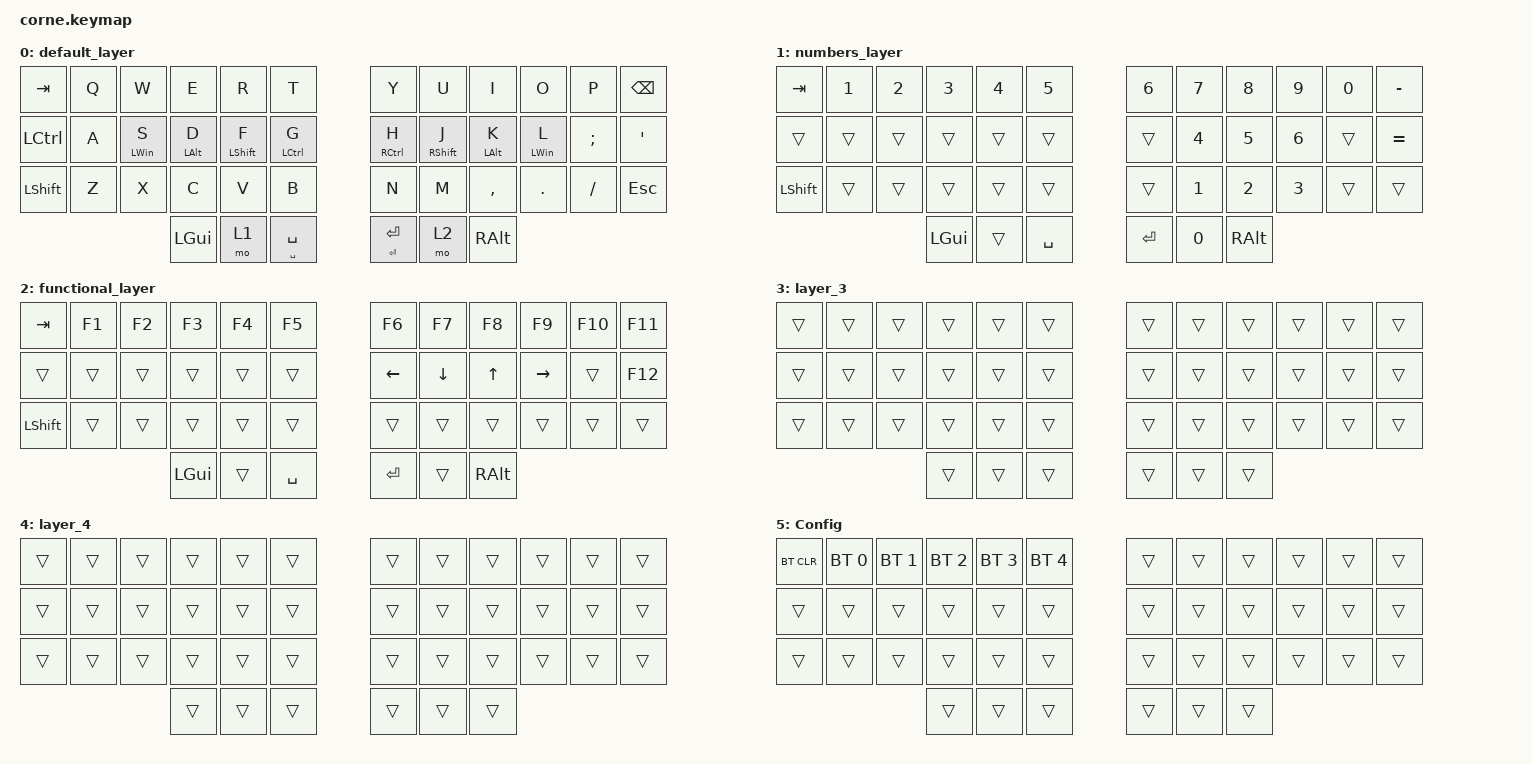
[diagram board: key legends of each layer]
/*
 * Copyright (c) 2020 The ZMK Contributors
 *
 * SPDX-License-Identifier: MIT
 */

#include <behaviors.dtsi>
#include <dt-bindings/zmk/bt.h>
#include <dt-bindings/zmk/keys.h>

/ {
    combos {
        compatible = "zmk,combos";

        combo_esc {
            timeout-ms = <50>;
            key-positions = <0 1>;
            bindings = <&kp ESC>;
        };
    };

    behaviors {
        ss_hs_modmorph: ss_hs_modmorph {
            compatible = "zmk,behavior-mod-morph";
            label = "SS_HS_MODMORPH";
            bindings = <&kp M>, <&kp RIGHT_BRACKET>;

            #binding-cells = <0>;
            mods = <(MOD_LSFT|MOD_RSFT)>;
        };

        kh_hs_tapdance: kh_hs_tapdance {
            compatible = "zmk,behavior-tap-dance";
            label = "KH_HS_TAPDANCE";
            #binding-cells = <0>;
            tapping-term-ms = <200>;
            bindings = <&kp LEFT_BRACKET>, <&kp RIGHT_BRACKET>;
        };

        hrm: hrm {
            compatible = "zmk,behavior-hold-tap";
            #binding-cells = <2>;
            flavor = "tap-preferred";
            tapping-term-ms = <200>;
            quick-tap-ms = <200>;
            require-prior-idle-ms = <125>;
            bindings = <&kp>, <&kp>;
        };
    };

    keymap {
        compatible = "zmk,keymap";

        default_layer {
            // -----------------------------------------------------------------------------------------
            // |  TAB |  Q  |  W  |  E  |  R  |  T  |   |  Y  |  U   |  I  |  O  |  P  | BKSP |
            // | CTRL |  A  |  S  |  D  |  F  |  G  |   |  H  |  J   |  K  |  L  |  ;  |  '   |
            // | SHFT |  Z  |  X  |  C  |  V  |  B  |   |  N  |  M   |  ,  |  .  |  /  | ESC  |
            //                    | GUI | LWR | SPC |   | ENT | RSE  | ALT |

            bindings = <
&kp TAB    &kp Q  &kp W            &kp E            &kp R              &kp T                  &kp Y                 &kp U               &kp I            &kp O            &kp P     &kp BSPC
&kp LCTRL  &kp A  &hrm LEFT_WIN S  &hrm LEFT_ALT D  &hrm LEFT_SHIFT F  &hrm LEFT_CONTROL G    &hrm RIGHT_CONTROL H  &hrm RIGHT_SHIFT J  &hrm LEFT_ALT K  &hrm LEFT_WIN L  &kp SEMI  &kp SQT
&kp LSHFT  &kp Z  &kp X            &kp C            &kp V              &kp B                  &kp N                 &kp M               &kp COMMA        &kp DOT          &kp FSLH  &kp ESC
                                   &kp LGUI         &mo 1              &hrm SPACE SPACE       &hrm RET RET          &mo 2               &kp RALT
            >;
        };

        numbers_layer {
            // -----------------------------------------------------------------------------------------
            // |  TAB |  1  |  2  |  3  |  4  |  5  |   |  6  |  7  |  8  |  9  |  0  | BKSP |
            // | BTCLR| BT1 | BT2 | BT3 | BT4 | BT5 |   | LFT | DWN |  UP | RGT |     |      |
            // | SHFT |     |     |     |     |     |   |     |     |     |     |     |      |
            //                    | GUI |     | SPC |   | ENT |     | ALT |

            bindings = <
&kp TAB    &kp N1  &kp N2  &kp N3    &kp N4  &kp N5       &kp N6   &kp N7  &kp N8    &kp N9  &kp N0  &kp MINUS
&trans     &trans  &trans  &trans    &trans  &trans       &trans   &kp N4  &kp N5    &kp N6  &trans  &kp EQUAL
&kp LSHFT  &trans  &trans  &trans    &trans  &trans       &trans   &kp N1  &kp N2    &kp N3  &trans  &trans
                           &kp LGUI  &trans  &kp SPACE    &kp RET  &kp N0  &kp RALT
            >;
        };

        functional_layer {
            // -----------------------------------------------------------------------------------------
            // |  TAB |  !  |  @  |  #  |  $  |  %  |   |  ^  |  &  |  *  |  (  |  )  | BKSP |
            // | CTRL |     |     |     |     |     |   |  -  |  =  |  [  |  ]  |  \  |  `   |
            // | SHFT |     |     |     |     |     |   |  _  |  +  |  {  |  }  | "|" |  ~   |
            //                    | GUI |     | SPC |   | ENT |     | ALT |

            bindings = <
&kp TAB    &kp F1  &kp F2  &kp F3    &kp F4  &kp F5       &kp F6    &kp F7    &kp F8    &kp F9     &kp F10  &kp F11
&trans     &trans  &trans  &trans    &trans  &trans       &kp LEFT  &kp DOWN  &kp UP    &kp RIGHT  &trans   &kp F12
&kp LSHFT  &trans  &trans  &trans    &trans  &trans       &trans    &trans    &trans    &trans     &trans   &trans
                           &kp LGUI  &trans  &kp SPACE    &kp RET   &trans    &kp RALT
            >;
        };

        layer_3 {
            bindings = <
&trans  &trans  &trans  &trans  &trans  &trans    &trans  &trans  &trans  &trans  &trans  &trans
&trans  &trans  &trans  &trans  &trans  &trans    &trans  &trans  &trans  &trans  &trans  &trans
&trans  &trans  &trans  &trans  &trans  &trans    &trans  &trans  &trans  &trans  &trans  &trans
                        &trans  &trans  &trans    &trans  &trans  &trans
            >;
        };

        layer_4 {
            bindings = <
&trans  &trans  &trans  &trans  &trans  &trans    &trans  &trans  &trans  &trans  &trans  &trans
&trans  &trans  &trans  &trans  &trans  &trans    &trans  &trans  &trans  &trans  &trans  &trans
&trans  &trans  &trans  &trans  &trans  &trans    &trans  &trans  &trans  &trans  &trans  &trans
                        &trans  &trans  &trans    &trans  &trans  &trans
            >;
        };

        Config {
            bindings = <
&bt BT_CLR  &bt BT_SEL 0  &bt BT_SEL 1  &bt BT_SEL 2  &bt BT_SEL 3  &bt BT_SEL 4    &trans    &trans    &trans    &trans     &trans  &trans
&trans      &trans        &trans        &trans        &trans        &trans          &trans    &trans    &trans    &trans     &trans  &trans
&trans      &trans        &trans        &trans        &trans        &trans          &trans    &trans    &trans    &trans     &trans  &trans
                                        &trans        &trans        &trans          &trans    &trans    &trans
            >;
        };
    };
};
